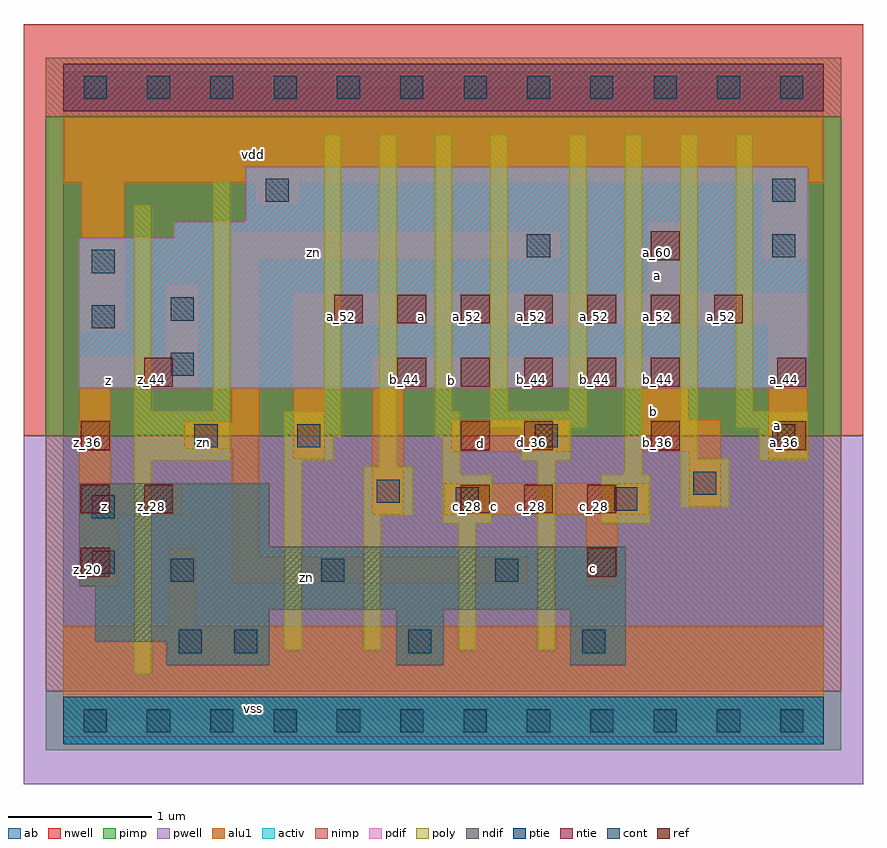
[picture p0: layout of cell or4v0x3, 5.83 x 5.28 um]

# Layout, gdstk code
import gdstk
lib = gdstk.Library(unit=1e-6, precision=2.5e-09)
def R(c, l, rs):  # rectangles x0, y0, x1, y1
    for r in rs: c.add(gdstk.rectangle(r[:2], r[2:], *l))
def A(c, l, x, y, w, h, nx, ny, dx, dy):  # array of equal rectangles
    R(c, l, [(x+i*dx, y+j*dy, x+i*dx+w, y+j*dy+h) for i in range(nx) for j in range(ny)])
ndif = (3, 0)
pdif = (4, 0)
ntie = (5, 0)
ptie = (6, 0)
ref = (24, 0)
cont = (25, 0)
pwell = (41, 0)
nwell = (42, 0)
activ = (43, 0)
pimp = (44, 0)
nimp = (45, 0)
poly = (46, 0)
alu1 = (49, 0)
ab = (63, 0)

or4v0x3 = lib.new_cell('or4v0x3')
R(or4v0x3, ndif, [(0.715,0.385,1.43,0.55), (2.31,0.385,2.64,0.77), (3.52,0.385,3.905,0.77), (0.22,0.55,1.43,0.77), (0.22,0.77,3.905,0.935), (0.11,0.935,3.905,1.21), (0.11,1.21,1.43,1.65)])
R(or4v0x3, pdif, [(0.11,2.31,5.17,3.355), (0.77,3.355,5.17,3.465), (1.265,3.465,5.17,3.85)])
R(or4v0x3, ntie, [(0,4.235,5.28,4.565)])
R(or4v0x3, ptie, [(0,-0.165,5.28,0.165)])
A(or4v0x3, ref, 0.12, 1, 0.2, 0.2, 1, 3, 0, 0.44)
A(or4v0x3, ref, 2.76, 1.44, 0.2, 0.2, 3, 1, 0.44, 0)
A(or4v0x3, ref, 3.2, 1.88, 0.2, 0.2, 3, 1, 0.88, 0)
A(or4v0x3, ref, 2.32, 2.32, 0.2, 0.2, 5, 1, 0.44, 0)
A(or4v0x3, ref, 1.88, 2.76, 0.2, 0.2, 7, 1, 0.44, 0)
R(or4v0x3, ref, [(3.64,1,3.84,1.2), (0.56,1.44,0.76,1.64), (2.76,1.88,2.96,2.08), (0.56,2.32,0.76,2.52), (4.96,2.32,5.16,2.52), (4.08,3.2,4.28,3.4)])
A(or4v0x3, cont, 0.14, -0.08, 0.16, 0.16, 12, 2, 0.44, 4.4)
A(or4v0x3, cont, 1.185, 0.47, 0.16, 0.16, 3, 1, 1.21, 0)
A(or4v0x3, cont, 1.625, 1.9, 0.16, 0.16, 3, 1, 1.65, 0)
R(or4v0x3, cont, [(0.8,0.47,0.96,0.63), (0.745,0.965,0.905,1.125), (1.79,0.965,1.95,1.125), (3,0.965,3.16,1.125), (0.195,1.02,0.355,1.18), (0.195,1.405,0.355,1.565), (2.725,1.46,2.885,1.62), (3.825,1.46,3.985,1.62), (2.175,1.515,2.335,1.675), (4.375,1.57,4.535,1.73), (0.91,1.9,1.07,2.06), (0.745,2.395,0.905,2.555), (0.195,2.725,0.355,2.885), (0.745,2.78,0.905,2.94), (0.195,3.11,0.355,3.27), (3.22,3.22,3.38,3.38), (4.925,3.22,5.085,3.38), (1.405,3.605,1.565,3.765), (4.925,3.605,5.085,3.765)])
R(or4v0x3, pwell, [(-0.275,-0.44,5.555,1.98)])
R(or4v0x3, nwell, [(-0.275,1.98,5.555,4.84)])
R(or4v0x3, activ, [(0,-0.165,5.28,0.165), (0.715,0.385,1.43,0.55), (2.31,0.385,2.64,0.77), (3.52,0.385,3.905,0.77), (0.22,0.55,1.43,0.77), (0.22,0.77,3.905,0.935), (0.11,0.935,3.905,1.21), (0.11,1.21,1.43,1.65), (0.11,2.31,5.17,3.355), (0.77,3.355,5.17,3.465), (1.265,3.465,5.17,3.85), (0,4.235,5.28,4.565)])
R(or4v0x3, pimp, [(-0.125,-0.205,5.405,0.205), (-0.125,1.98,5.405,4.195)])
R(or4v0x3, nimp, [(-0.125,0.205,5.405,1.98), (-0.125,4.195,5.405,4.605)])
R(or4v0x3, poly, [(0.49,0.325,0.61,1.81), (1.535,0.49,1.655,1.81), (2.085,0.49,2.205,1.425), (2.745,0.49,2.865,1.37), (3.295,0.49,3.415,1.81), (2.635,1.37,2.975,1.71), (3.735,1.37,4.075,1.71), (2.085,1.425,2.425,1.765), (4.285,1.48,4.625,1.82), (2.635,1.71,2.755,1.975), (3.9,1.71,4.02,4.075), (2.195,1.765,2.315,4.075), (0.49,1.81,1.16,2.15), (1.535,1.81,1.875,1.975), (3.185,1.81,3.525,2.03), (4.835,1.81,5.175,2.03), (4.285,1.82,4.405,4.075), (1.535,1.975,1.93,2.15), (2.58,1.975,2.755,2.15), (2.965,2.03,3.635,2.15), (4.67,2.03,5.175,2.15), (0.49,2.15,0.61,3.58), (1.04,2.15,1.16,3.745), (1.81,2.15,1.93,4.075), (2.58,2.15,2.7,4.075), (2.965,2.15,3.085,4.075), (3.515,2.15,3.635,4.075), (4.67,2.15,4.79,4.075)])
R(or4v0x3, alu1, [(0,-0.11,5.28,0.66), (0.73,0.66,0.92,1.195), (0.11,0.935,0.385,1.43), (3.63,0.935,3.85,1.43), (1.17,0.95,3.23,1.14), (1.17,1.14,1.36,1.885), (0.11,1.43,0.825,1.65), (2.145,1.43,2.365,2.31), (2.64,1.43,4.07,1.65), (4.345,1.485,4.565,1.87), (0.11,1.65,0.33,2.31), (1.595,1.815,1.815,2.75), (4.895,1.815,5.17,2.75), (2.695,1.87,3.52,2.09), (4.015,1.87,4.565,2.09), (0.84,1.885,1.36,2.075), (1.17,2.075,1.36,3.205), (4.015,2.09,4.345,2.31), (0.11,2.31,0.935,2.53), (2.145,2.31,4.345,2.53), (0.715,2.53,0.935,3.025), (0.125,2.71,0.425,3.74), (1.595,2.75,5.17,2.97), (4.07,2.97,4.29,3.465), (1.17,3.205,3.45,3.395), (4.855,3.205,5.155,3.74), (1.335,3.59,1.635,3.74), (0,3.74,5.28,4.51)])
R(or4v0x3, ab, [(0,0,5.28,4.4)])
or4v0x3.add(gdstk.Label('vss', (1.32,0.0825), layer=49, texttype=0))
or4v0x3.add(gdstk.Label('c', (3.685,1.0575), layer=49, texttype=0))
or4v0x3.add(gdstk.Label('zn', (1.685,0.9975), layer=49, texttype=0))
or4v0x3.add(gdstk.Label('a', (4.9625,2.0475), layer=49, texttype=0))
or4v0x3.add(gdstk.Label('c', (2.9975,1.485), layer=49, texttype=0))
or4v0x3.add(gdstk.Label('d', (2.9,1.925), layer=49, texttype=0))
or4v0x3.add(gdstk.Label('b', (4.0975,2.145), layer=49, texttype=0))
or4v0x3.add(gdstk.Label('b', (2.695,2.365), layer=49, texttype=0))
or4v0x3.add(gdstk.Label('a', (2.4875,2.805), layer=49, texttype=0))
or4v0x3.add(gdstk.Label('z', (0.2875,1.485), layer=49, texttype=0))
or4v0x3.add(gdstk.Label('zn', (0.97,1.9325), layer=49, texttype=0))
or4v0x3.add(gdstk.Label('a', (4.125,3.0925), layer=49, texttype=0))
or4v0x3.add(gdstk.Label('z', (0.315,2.365), layer=49, texttype=0))
or4v0x3.add(gdstk.Label('zn', (1.74,3.2525), layer=49, texttype=0))
or4v0x3.add(gdstk.Label('vdd', (1.32,3.9325), layer=49, texttype=0))
or4v0x3.add(gdstk.Label('z_28', (0.61,1.49), layer=24, texttype=0))
or4v0x3.add(gdstk.Label('z_44', (0.61,2.37), layer=24, texttype=0))
or4v0x3.add(gdstk.Label('a_52', (1.93,2.81), layer=24, texttype=0))
or4v0x3.add(gdstk.Label('z_20', (0.17,1.05), layer=24, texttype=0))
or4v0x3.add(gdstk.Label('z_28', (0.17,1.49), layer=24, texttype=0))
or4v0x3.add(gdstk.Label('z_36', (0.17,1.93), layer=24, texttype=0))
or4v0x3.add(gdstk.Label('b_44', (2.37,2.37), layer=24, texttype=0))
or4v0x3.add(gdstk.Label('a_52', (2.37,2.81), layer=24, texttype=0))
or4v0x3.add(gdstk.Label('c_28', (2.81,1.49), layer=24, texttype=0))
or4v0x3.add(gdstk.Label('d_36', (2.81,1.93), layer=24, texttype=0))
or4v0x3.add(gdstk.Label('b_44', (2.81,2.37), layer=24, texttype=0))
or4v0x3.add(gdstk.Label('a_52', (2.81,2.81), layer=24, texttype=0))
or4v0x3.add(gdstk.Label('c_28', (3.25,1.49), layer=24, texttype=0))
or4v0x3.add(gdstk.Label('d_36', (3.25,1.93), layer=24, texttype=0))
or4v0x3.add(gdstk.Label('b_44', (3.25,2.37), layer=24, texttype=0))
or4v0x3.add(gdstk.Label('a_52', (3.25,2.81), layer=24, texttype=0))
or4v0x3.add(gdstk.Label('c_20', (3.69,1.05), layer=24, texttype=0))
or4v0x3.add(gdstk.Label('c_28', (3.69,1.49), layer=24, texttype=0))
or4v0x3.add(gdstk.Label('b_44', (3.69,2.37), layer=24, texttype=0))
or4v0x3.add(gdstk.Label('a_52', (3.69,2.81), layer=24, texttype=0))
or4v0x3.add(gdstk.Label('b_36', (4.13,1.93), layer=24, texttype=0))
or4v0x3.add(gdstk.Label('b_44', (4.13,2.37), layer=24, texttype=0))
or4v0x3.add(gdstk.Label('a_52', (4.13,2.81), layer=24, texttype=0))
or4v0x3.add(gdstk.Label('a_60', (4.13,3.25), layer=24, texttype=0))
or4v0x3.add(gdstk.Label('a_52', (4.57,2.81), layer=24, texttype=0))
or4v0x3.add(gdstk.Label('a_36', (5.01,1.93), layer=24, texttype=0))
or4v0x3.add(gdstk.Label('a_44', (5.01,2.37), layer=24, texttype=0))

lib.write_gds('or4v0x3.gds')
